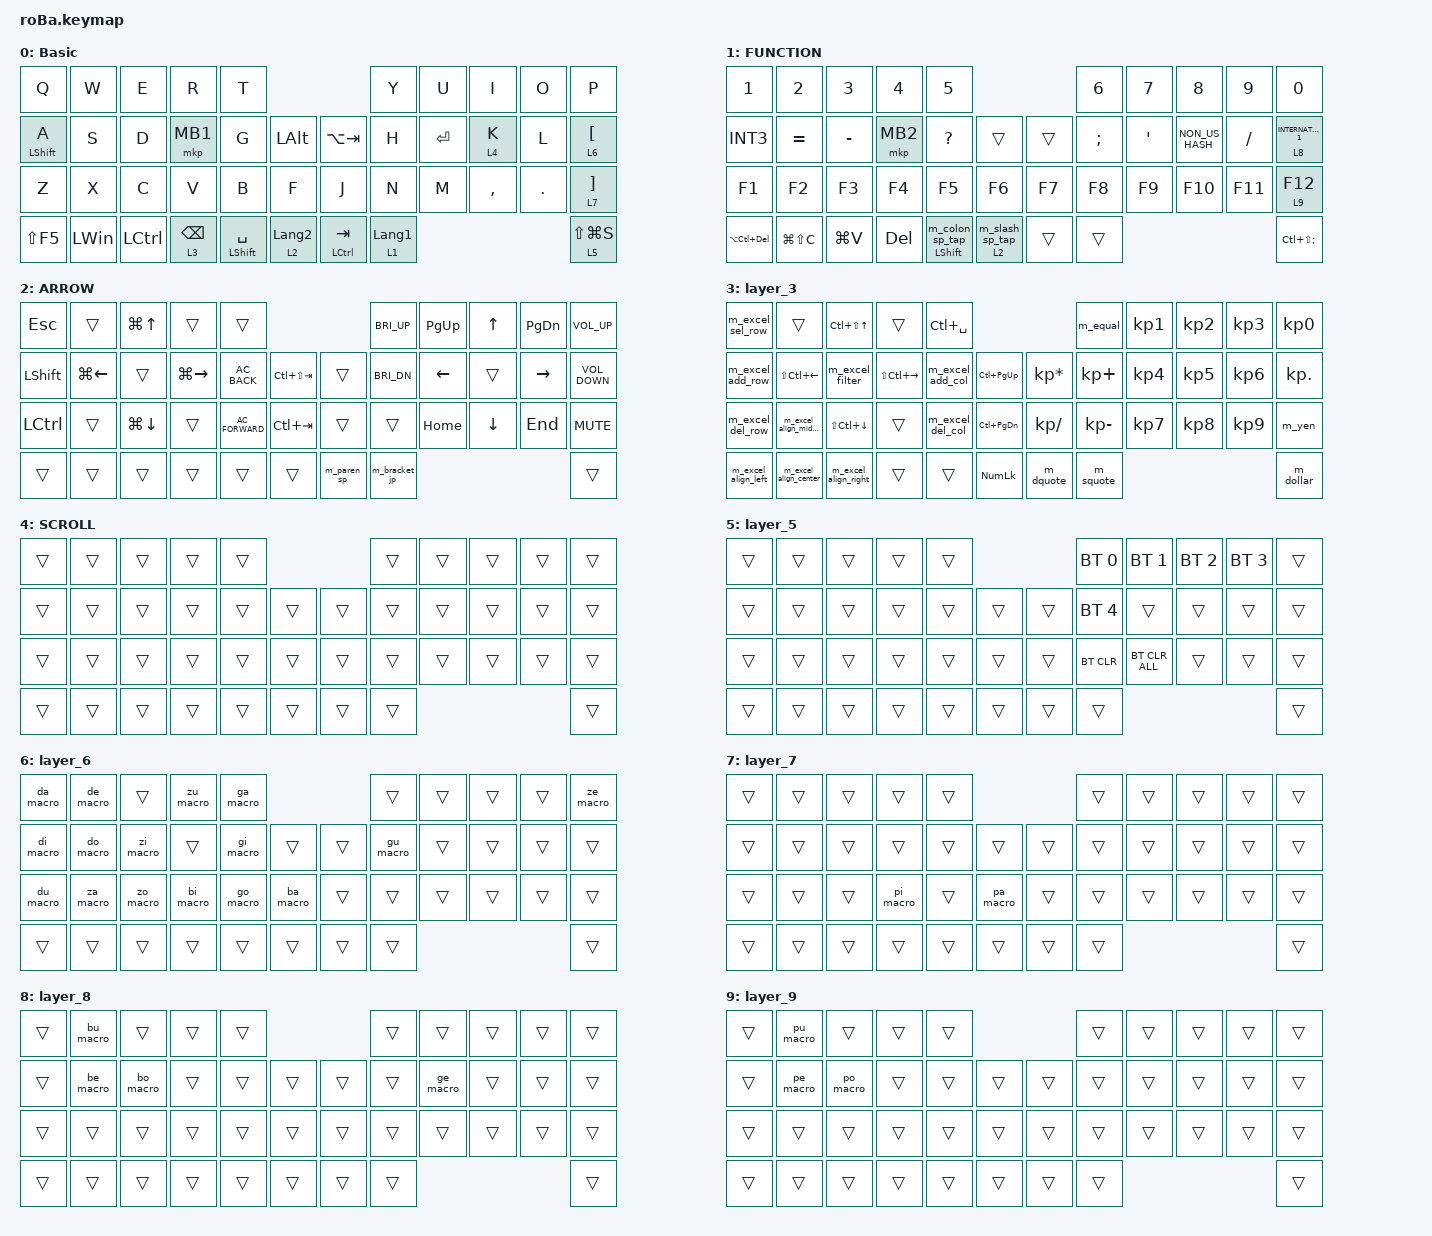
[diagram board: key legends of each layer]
#include <behaviors.dtsi>
#include <dt-bindings/zmk/bt.h>
#include <dt-bindings/zmk/keys.h>
#include <dt-bindings/zmk/pointing.h>

// ==========================================================
// グローバル設定
// ==========================================================

&trackball { scroll-layers = <4>; };

&mt {
    flavor = "balanced";
    tapping-term-ms = <200>;
    quick-tap-ms = <175>;
    require-prior-idle-ms = <35>;
};

&lt {
    flavor = "balanced";
    tapping-term-ms = <200>;
    quick-tap-ms = <175>;
};

&kscan0 { debounce-period = <10>; };

/ {
    combos {
        compatible = "zmk,combos";

        // --- システム・編集系 (既存) ---

        tab {
            timeout-ms = <80>;
            bindings = <&kp TAB>;
            key-positions = <11 12>;
        };

        muhennkann {
            timeout-ms = <80>;
            bindings = <&to_layer_0 INT_MUHENKAN>;
            key-positions = <11 10>;
        };

        select_all {
            timeout-ms = <80>;
            bindings = <&kp LC(A)>;
            key-positions = <10 22>;
        };

        copy {
            timeout-ms = <80>;
            bindings = <&kp LC(C)>;
            key-positions = <22 24>;
        };

        paste {
            timeout-ms = <80>;
            bindings = <&kp LC(V)>;
            key-positions = <22 25>;
        };

        cut {
            timeout-ms = <80>;
            bindings = <&kp LC(X)>;
            key-positions = <22 23>;
        };

        // --- 濁音・半濁音コンボ (既存) ---

        c_da {
            timeout-ms = <80>;
            layers = <0>;
            key-positions = <0 21>;
            bindings = <&da_macro>;
        };

        c_de {
            timeout-ms = <80>;
            layers = <0>;
            key-positions = <1 21>;
            bindings = <&de_macro>;
        };

        c_zu {
            timeout-ms = <80>;
            layers = <0>;
            key-positions = <3 21>;
            bindings = <&zu_macro>;
        };

        c_ga {
            timeout-ms = <80>;
            layers = <0>;
            key-positions = <4 21>;
            bindings = <&ga_macro>;
        };

        c_di {
            timeout-ms = <80>;
            layers = <0>;
            key-positions = <10 21>;
            bindings = <&di_macro>;
        };

        c_do {
            timeout-ms = <80>;
            layers = <0>;
            key-positions = <11 21>;
            bindings = <&do_macro>;
        };

        c_zi {
            timeout-ms = <80>;
            layers = <0>;
            key-positions = <12 21>;
            bindings = <&zi_macro>;
        };

        c_gi {
            timeout-ms = <80>;
            layers = <0>;
            key-positions = <14 21>;
            bindings = <&gi_macro>;
        };

        c_gu {
            timeout-ms = <80>;
            layers = <0>;
            key-positions = <17 21>;
            bindings = <&gu_macro>;
        };

        c_du {
            timeout-ms = <80>;
            layers = <0>;
            key-positions = <22 21>;
            bindings = <&du_macro>;
        };

        c_za {
            timeout-ms = <80>;
            layers = <0>;
            key-positions = <23 21>;
            bindings = <&za_macro>;
        };

        c_zo {
            timeout-ms = <80>;
            layers = <0>;
            key-positions = <24 21>;
            bindings = <&zo_macro>;
        };

        c_bi {
            timeout-ms = <80>;
            layers = <0>;
            key-positions = <25 21>;
            bindings = <&bi_macro>;
        };

        c_go {
            timeout-ms = <80>;
            layers = <0>;
            key-positions = <26 21>;
            bindings = <&go_macro>;
        };

        c_ba {
            timeout-ms = <80>;
            layers = <0>;
            key-positions = <27 21>;
            bindings = <&ba_macro>;
        };

        c_pa {
            timeout-ms = <80>;
            layers = <0>;
            key-positions = <27 33>;
            bindings = <&pa_macro>;
        };

        c_pi {
            timeout-ms = <80>;
            layers = <0>;
            key-positions = <25 33>;
            bindings = <&pi_macro>;
        };

        c_bu {
            timeout-ms = <80>;
            layers = <0>;
            key-positions = <1 41 21>;
            bindings = <&bu_macro>;
        };

        c_bo {
            timeout-ms = <80>;
            layers = <0>;
            key-positions = <12 41 21>;
            bindings = <&bo_macro>;
        };

        c_be {
            timeout-ms = <80>;
            layers = <0>;
            key-positions = <11 41 21>;
            bindings = <&be_macro>;
        };

        c_ze {
            timeout-ms = <80>;
            layers = <0>;
            key-positions = <9 41 21>;
            bindings = <&ze_macro>;
        };

        c_ge {
            timeout-ms = <80>;
            layers = <0>;
            key-positions = <18 41 21>;
            bindings = <&ge_macro>;
        };

        c_pu {
            timeout-ms = <80>;
            layers = <0>;
            key-positions = <1 41 33>;
            bindings = <&pu_macro>;
        };

        c_po {
            timeout-ms = <80>;
            layers = <0>;
            key-positions = <12 41 33>;
            bindings = <&po_macro>;
        };

        c_pe {
            timeout-ms = <80>;
            layers = <0>;
            key-positions = <11 41 33>;
            bindings = <&pe_macro>;
        };

        // --- 特殊かな L1コンボ (既存) ---

        c_nu {
            timeout-ms = <80>;
            layers = <0>;
            key-positions = <0 41>;
            bindings = <&kp N1>;
        };

        c_fu {
            timeout-ms = <80>;
            layers = <0>;
            key-positions = <1 41>;
            bindings = <&kp N2>;
        };

        c_a {
            timeout-ms = <80>;
            layers = <0>;
            key-positions = <2 41>;
            bindings = <&kp N3>;
        };

        c_u {
            timeout-ms = <80>;
            layers = <0>;
            key-positions = <3 41>;
            bindings = <&kp N4>;
        };

        c_e {
            timeout-ms = <80>;
            layers = <0>;
            key-positions = <4 41>;
            bindings = <&kp N5>;
        };

        c_o {
            timeout-ms = <80>;
            layers = <0>;
            key-positions = <5 41>;
            bindings = <&kp N6>;
        };

        c_ho {
            timeout-ms = <80>;
            layers = <0>;
            key-positions = <12 41>;
            bindings = <&kp MINUS>;
        };

        c_he {
            timeout-ms = <80>;
            layers = <0>;
            key-positions = <11 41>;
            bindings = <&kp EQUAL>;
        };

        c_ya {
            timeout-ms = <80>;
            layers = <0>;
            key-positions = <6 41>;
            bindings = <&kp N7>;
        };

        c_yu {
            timeout-ms = <80>;
            layers = <0>;
            key-positions = <7 41>;
            bindings = <&kp N8>;
        };

        c_yo {
            timeout-ms = <80>;
            layers = <0>;
            key-positions = <8 41>;
            bindings = <&kp N9>;
        };

        c_wa {
            timeout-ms = <80>;
            layers = <0>;
            key-positions = <9 41>;
            bindings = <&kp N0>;
        };

        c_cho {
            timeout-ms = <80>;
            layers = <0>;
            key-positions = <10 41>;
            bindings = <&kp INT3>;
        };

        c_ro {
            timeout-ms = <80>;
            layers = <0>;
            key-positions = <21 41>;
            bindings = <&kp INTERNATIONAL_1>;
        };

        c_re {
            timeout-ms = <80>;
            layers = <0>;
            key-positions = <17 41>;
            bindings = <&kp SEMICOLON>;
        };

        c_ke {
            timeout-ms = <80>;
            layers = <0>;
            key-positions = <18 41>;
            bindings = <&kp SQT>;
        };

        c_mu {
            timeout-ms = <80>;
            layers = <0>;
            key-positions = <19 41>;
            bindings = <&kp NON_US_HASH>;
        };

        c_me {
            timeout-ms = <80>;
            layers = <0>;
            key-positions = <20 41>;
            bindings = <&kp SLASH>;
        };

        // --- 小書き・句読点 ---
        // 【修正】スペース(38)を含むコンボは、文字→スペース変換の
        //         ロール打鍵で誤発火しやすいため timeout-ms を 80 → 40 に短縮

        c_s_i {
            timeout-ms = <40>;
            layers = <0>;
            key-positions = <2 38>;
            bindings = <&kp LS(E)>;
        };

        c_s_tu {
            timeout-ms = <40>;
            layers = <0>;
            key-positions = <22 38>;
            bindings = <&kp LS(Z)>;
        };

        c_ten {
            timeout-ms = <40>;
            layers = <0>;
            key-positions = <31 38>;
            bindings = <&kp LS(COMMA)>;
        };

        c_maru {
            timeout-ms = <40>;
            layers = <0>;
            key-positions = <32 38>;
            bindings = <&kp LS(DOT)>;
        };

        c_s_a {
            timeout-ms = <40>;
            layers = <0>;
            key-positions = <2 38 41>;
            bindings = <&kp LS(N3)>;
        };

        c_s_u {
            timeout-ms = <40>;
            layers = <0>;
            key-positions = <3 38 41>;
            bindings = <&kp LS(N4)>;
        };

        c_s_e {
            timeout-ms = <40>;
            layers = <0>;
            key-positions = <4 38 41>;
            bindings = <&kp LS(N5)>;
        };

        c_s_o {
            timeout-ms = <40>;
            layers = <0>;
            key-positions = <5 38 41>;
            bindings = <&kp LS(N6)>;
        };

        c_s_ya {
            timeout-ms = <40>;
            layers = <0>;
            key-positions = <6 38 41>;
            bindings = <&kp LS(N7)>;
        };

        c_s_yu {
            timeout-ms = <40>;
            layers = <0>;
            key-positions = <7 38 41>;
            bindings = <&kp LS(N8)>;
        };

        c_s_yo {
            timeout-ms = <40>;
            layers = <0>;
            key-positions = <8 38 41>;
            bindings = <&kp LS(N9)>;
        };

        c_wo {
            timeout-ms = <40>;
            layers = <0>;
            key-positions = <9 38 41>;
            bindings = <&kp LS(N0)>;
        };

        // ==========================================================
        // 拗音・外来語コンボ
        // ==========================================================

        c_kya {
            timeout-ms = <80>;
            layers = <0>;
            key-positions = <14 6>;
            bindings = <&m_kya>;
        };

        c_kyu {
            timeout-ms = <80>;
            layers = <0>;
            key-positions = <14 7>;
            bindings = <&m_kyu>;
        };

        c_kyo {
            timeout-ms = <80>;
            layers = <0>;
            key-positions = <14 8>;
            bindings = <&m_kyo>;
        };

        c_sha {
            timeout-ms = <80>;
            layers = <0>;
            key-positions = <12 6>;
            bindings = <&m_sha>;
        };

        c_shu {
            timeout-ms = <80>;
            layers = <0>;
            key-positions = <12 7>;
            bindings = <&m_shu>;
        };

        c_sho {
            timeout-ms = <80>;
            layers = <0>;
            key-positions = <12 8>;
            bindings = <&m_sho>;
        };

        c_she {
            timeout-ms = <80>;
            layers = <0>;
            key-positions = <12 32>;
            bindings = <&m_she>;
        };

        c_cha {
            timeout-ms = <80>;
            layers = <0>;
            key-positions = <10 6>;
            bindings = <&m_cha>;
        };

        c_chu {
            timeout-ms = <80>;
            layers = <0>;
            key-positions = <10 7>;
            bindings = <&m_chu>;
        };

        c_cho_y {
            timeout-ms = <80>;
            layers = <0>;
            key-positions = <10 8>;
            bindings = <&m_cho_y>;
        };

        c_che {
            timeout-ms = <80>;
            layers = <0>;
            key-positions = <10 32>;
            bindings = <&m_che>;
        };

        c_hya {
            timeout-ms = <80>;
            layers = <0>;
            key-positions = <25 6>;
            bindings = <&m_hya>;
        };

        c_hyu {
            timeout-ms = <80>;
            layers = <0>;
            key-positions = <25 7>;
            bindings = <&m_hyu>;
        };

        c_hyo {
            timeout-ms = <80>;
            layers = <0>;
            key-positions = <25 8>;
            bindings = <&m_hyo>;
        };

        c_nya {
            timeout-ms = <80>;
            layers = <0>;
            key-positions = <7 1>;
            bindings = <&m_nya>;
        };

        c_nyu {
            timeout-ms = <80>;
            layers = <0>;
            key-positions = <7 2>;
            bindings = <&m_nyu>;
        };

        c_nyo {
            timeout-ms = <80>;
            layers = <0>;
            key-positions = <7 3>;
            bindings = <&m_nyo>;
        };

        c_mya {
            timeout-ms = <80>;
            layers = <0>;
            key-positions = <29 1>;
            bindings = <&m_mya>;
        };

        c_myu {
            timeout-ms = <80>;
            layers = <0>;
            key-positions = <29 2>;
            bindings = <&m_myu>;
        };

        c_myo {
            timeout-ms = <80>;
            layers = <0>;
            key-positions = <29 3>;
            bindings = <&m_myo>;
        };

        c_rya {
            timeout-ms = <80>;
            layers = <0>;
            key-positions = <20 1>;
            bindings = <&m_rya>;
        };

        c_ryu {
            timeout-ms = <80>;
            layers = <0>;
            key-positions = <20 2>;
            bindings = <&m_ryu>;
        };

        c_ryo {
            timeout-ms = <80>;
            layers = <0>;
            key-positions = <20 3>;
            bindings = <&m_ryo>;
        };

        c_fa {
            timeout-ms = <80>;
            layers = <0>;
            key-positions = <1 41 29>;
            bindings = <&m_fa>;
        };

        c_fi {
            timeout-ms = <80>;
            layers = <0>;
            key-positions = <1 41 30>;
            bindings = <&m_fi>;
        };

        c_fyu {
            timeout-ms = <80>;
            layers = <0>;
            key-positions = <1 41 7>;
            bindings = <&m_fyu>;
        };

        c_fe {
            timeout-ms = <80>;
            layers = <0>;
            key-positions = <1 41 32>;
            bindings = <&m_fe>;
        };

        c_fo {
            timeout-ms = <80>;
            layers = <0>;
            key-positions = <1 41 33>;
            bindings = <&m_fo>;
        };

        c_gya {
            timeout-ms = <80>;
            layers = <0>;
            key-positions = <14 6 21>;
            bindings = <&m_gya>;
        };

        c_gyu {
            timeout-ms = <80>;
            layers = <0>;
            key-positions = <14 7 21>;
            bindings = <&m_gyu>;
        };

        c_gyo {
            timeout-ms = <80>;
            layers = <0>;
            key-positions = <14 8 21>;
            bindings = <&m_gyo>;
        };

        c_ja {
            timeout-ms = <80>;
            layers = <0>;
            key-positions = <12 6 21>;
            bindings = <&m_ja>;
        };

        c_ju {
            timeout-ms = <80>;
            layers = <0>;
            key-positions = <12 7 21>;
            bindings = <&m_ju>;
        };

        c_jo {
            timeout-ms = <80>;
            layers = <0>;
            key-positions = <12 8 21>;
            bindings = <&m_jo>;
        };

        c_je {
            timeout-ms = <80>;
            layers = <0>;
            key-positions = <12 32 21>;
            bindings = <&m_je>;
        };

        c_bya {
            timeout-ms = <80>;
            layers = <0>;
            key-positions = <25 6 21>;
            bindings = <&m_bya>;
        };

        c_byu {
            timeout-ms = <80>;
            layers = <0>;
            key-positions = <25 7 21>;
            bindings = <&m_byu>;
        };

        c_byo {
            timeout-ms = <80>;
            layers = <0>;
            key-positions = <25 8 21>;
            bindings = <&m_byo>;
        };

        c_va {
            timeout-ms = <80>;
            layers = <0>;
            key-positions = <1 41 21 29>;
            bindings = <&m_va>;
        };

        c_vi {
            timeout-ms = <80>;
            layers = <0>;
            key-positions = <1 41 21 30>;
            bindings = <&m_vi>;
        };

        c_ve {
            timeout-ms = <80>;
            layers = <0>;
            key-positions = <1 41 21 32>;
            bindings = <&m_ve>;
        };

        c_vo {
            timeout-ms = <80>;
            layers = <0>;
            key-positions = <1 41 21 33>;
            bindings = <&m_vo>;
        };

        c_pya {
            timeout-ms = <80>;
            layers = <0>;
            key-positions = <25 6 33>;
            bindings = <&m_pya>;
        };

        c_pyu {
            timeout-ms = <80>;
            layers = <0>;
            key-positions = <25 7 33>;
            bindings = <&m_pyu>;
        };

        c_pyo {
            timeout-ms = <80>;
            layers = <0>;
            key-positions = <25 8 33>;
            bindings = <&m_pyo>;
        };

        // --- 追加: 拗音・外来語コンボ ---

        c_ti {
            timeout-ms = <80>;
            layers = <0>;
            key-positions = <1 30>;
            bindings = <&m_ti>;
        };

        c_di_ext {
            timeout-ms = <80>;
            layers = <0>;
            key-positions = <1 21 30>;
            bindings = <&m_di>;
        };

        c_tu {
            timeout-ms = <80>;
            layers = <0>;
            key-positions = <11 31>;
            bindings = <&m_tu>;
        };

        c_du_ext {
            timeout-ms = <80>;
            layers = <0>;
            key-positions = <11 21 31>;
            bindings = <&m_du>;
        };

        c_wi {
            timeout-ms = <80>;
            layers = <0>;
            key-positions = <3 41 30>;
            bindings = <&m_wi>;
        };

        c_we {
            timeout-ms = <80>;
            layers = <0>;
            key-positions = <3 41 32>;
            bindings = <&m_we>;
        };

        c_wo_ext {
            timeout-ms = <80>;
            layers = <0>;
            key-positions = <3 41 33>;
            bindings = <&m_wo>;
        };

        c_tsa {
            timeout-ms = <80>;
            layers = <0>;
            key-positions = <22 29>;
            bindings = <&m_tsa>;
        };

        c_tsi {
            timeout-ms = <80>;
            layers = <0>;
            key-positions = <22 30>;
            bindings = <&m_tsi>;
        };

        c_tse {
            timeout-ms = <80>;
            layers = <0>;
            key-positions = <22 32>;
            bindings = <&m_tse>;
        };

        c_tso {
            timeout-ms = <80>;
            layers = <0>;
            key-positions = <22 33>;
            bindings = <&m_tso>;
        };
    };

    macros {
        // --- 既存のマクロ ---

        to_layer_0: to_layer_0 {
            compatible = "zmk,behavior-macro-one-param";
            #binding-cells = <1>;
            bindings = <&to 0 &macro_param_1to1 &kp MACRO_PLACEHOLDER>;
            label = "TO_LAYER_0";
        };

        ga_macro: ga_macro {
            compatible = "zmk,behavior-macro";
            #binding-cells = <0>;
            bindings = <&kp T &kp LEFT_BRACKET>;
            label = "GA_MACRO";
        };

        da_macro: da_macro {
            compatible = "zmk,behavior-macro";
            #binding-cells = <0>;
            bindings = <&kp Q &kp LEFT_BRACKET>;
            label = "DA_MACRO";
        };

        za_macro: za_macro {
            compatible = "zmk,behavior-macro";
            #binding-cells = <0>;
            bindings = <&kp X &kp LEFT_BRACKET>;
            label = "ZA_MACRO";
        };

        ba_macro: ba_macro {
            compatible = "zmk,behavior-macro";
            #binding-cells = <0>;
            bindings = <&kp F &kp LEFT_BRACKET>;
            label = "BA_MACRO";
        };

        gi_macro: gi_macro {
            compatible = "zmk,behavior-macro";
            #binding-cells = <0>;
            bindings = <&kp G &kp LEFT_BRACKET>;
            label = "GI_MACRO";
        };

        zi_macro: zi_macro {
            compatible = "zmk,behavior-macro";
            #binding-cells = <0>;
            bindings = <&kp D &kp LEFT_BRACKET>;
            label = "ZI_MACRO";
        };

        bi_macro: bi_macro {
            compatible = "zmk,behavior-macro";
            #binding-cells = <0>;
            bindings = <&kp V &kp LEFT_BRACKET>;
            label = "BI_MACRO";
        };

        di_macro: di_macro {
            compatible = "zmk,behavior-macro";
            #binding-cells = <0>;
            bindings = <&kp A &kp LEFT_BRACKET>;
            label = "DI_MACRO";
        };

        gu_macro: gu_macro {
            compatible = "zmk,behavior-macro";
            #binding-cells = <0>;
            bindings = <&kp H &kp LEFT_BRACKET>;
            label = "GU_MACRO";
        };

        zu_macro: zu_macro {
            compatible = "zmk,behavior-macro";
            #binding-cells = <0>;
            bindings = <&kp R &kp LEFT_BRACKET>;
            label = "ZU_MACRO";
        };

        de_macro: de_macro {
            compatible = "zmk,behavior-macro";
            #binding-cells = <0>;
            bindings = <&kp W &kp LEFT_BRACKET>;
            label = "DE_MACRO";
        };

        du_macro: du_macro {
            compatible = "zmk,behavior-macro";
            #binding-cells = <0>;
            bindings = <&kp Z &kp LEFT_BRACKET>;
            label = "DU_MACRO";
        };

        ge_macro: ge_macro {
            compatible = "zmk,behavior-macro";
            #binding-cells = <0>;
            bindings = <&kp SQT &kp LEFT_BRACKET>;
            label = "GE_MACRO";
        };

        ze_macro: ze_macro {
            compatible = "zmk,behavior-macro";
            #binding-cells = <0>;
            bindings = <&kp P &kp LEFT_BRACKET>;
            label = "ZE_MACRO";
        };

        be_macro: be_macro {
            compatible = "zmk,behavior-macro";
            #binding-cells = <0>;
            bindings = <&kp EQUAL &kp LEFT_BRACKET>;
            label = "BE_MACRO";
        };

        bo_macro: bo_macro {
            compatible = "zmk,behavior-macro";
            #binding-cells = <0>;
            bindings = <&kp MINUS &kp LEFT_BRACKET>;
            label = "BO_MACRO";
        };

        bu_macro: bu_macro {
            compatible = "zmk,behavior-macro";
            #binding-cells = <0>;
            bindings = <&kp NUMBER_2 &kp LEFT_BRACKET>;
            label = "BU_MACRO";
        };

        go_macro: go_macro {
            compatible = "zmk,behavior-macro";
            #binding-cells = <0>;
            bindings = <&kp B &kp LEFT_BRACKET>;
            label = "GO_MACRO";
        };

        do_macro: do_macro {
            compatible = "zmk,behavior-macro";
            #binding-cells = <0>;
            bindings = <&kp S &kp LEFT_BRACKET>;
            label = "DO_MACRO";
        };

        zo_macro: zo_macro {
            compatible = "zmk,behavior-macro";
            #binding-cells = <0>;
            bindings = <&kp C &kp LEFT_BRACKET>;
            label = "ZO_MACRO";
        };

        pa_macro: pa_macro {
            compatible = "zmk,behavior-macro";
            #binding-cells = <0>;
            bindings = <&kp F &kp RIGHT_BRACKET>;
            label = "PA_MACRO";
        };

        pi_macro: pi_macro {
            compatible = "zmk,behavior-macro";
            #binding-cells = <0>;
            bindings = <&kp V &kp RIGHT_BRACKET>;
            label = "PI_MACRO";
        };

        pu_macro: pu_macro {
            compatible = "zmk,behavior-macro";
            #binding-cells = <0>;
            bindings = <&kp NUMBER_2 &kp RIGHT_BRACKET>;
            label = "PU_MACRO";
        };

        pe_macro: pe_macro {
            compatible = "zmk,behavior-macro";
            #binding-cells = <0>;
            bindings = <&kp EQUAL &kp RIGHT_BRACKET>;
            label = "PE_MACRO";
        };

        po_macro: po_macro {
            compatible = "zmk,behavior-macro";
            #binding-cells = <0>;
            bindings = <&kp MINUS &kp RIGHT_BRACKET>;
            label = "PO_MACRO";
        };

        m_paren_sp: m_paren_sp {
            compatible = "zmk,behavior-macro";
            #binding-cells = <0>;
            wait-ms = <20>;
            tap-ms = <20>;
            bindings = <&kp LANGUAGE_2 &kp SPACE &kp LS(N8) &kp LS(N9) &kp SPACE &kp LEFT &kp LEFT &kp LANGUAGE_1>;
            label = "M_PAREN_SP";
        };

        m_bracket_jp: m_bracket_jp {
            compatible = "zmk,behavior-macro";
            #binding-cells = <0>;
            wait-ms = <20>;
            tap-ms = <20>;
            bindings = <&kp LANGUAGE_2 &kp RBKT &kp NON_US_HASH &kp LEFT &kp LANGUAGE_1>;
            label = "M_BRACKET_JP";
        };

        m_dquote: m_dquote {
            compatible = "zmk,behavior-macro";
            #binding-cells = <0>;
            wait-ms = <20>;
            tap-ms = <20>;
            bindings = <&kp LANGUAGE_2 &kp LS(N2) &kp LS(N2) &kp LEFT &kp LANGUAGE_1>;
            label = "M_DQUOTE";
        };

        m_squote: m_squote {
            compatible = "zmk,behavior-macro";
            #binding-cells = <0>;
            wait-ms = <20>;
            tap-ms = <20>;
            bindings = <&kp LANGUAGE_2 &kp LS(N7) &kp LS(N7) &kp LEFT &kp LANGUAGE_1>;
            label = "M_SQUOTE";
        };

        m_colon_sp: m_colon_sp {
            compatible = "zmk,behavior-macro";
            #binding-cells = <0>;
            wait-ms = <20>;
            tap-ms = <20>;
            bindings = <&kp LANGUAGE_2 &kp SPACE &kp SQT &kp SPACE &kp LANGUAGE_1>;
            label = "M_COLON_SP";
        };

        m_slash_sp: m_slash_sp {
            compatible = "zmk,behavior-macro";
            #binding-cells = <0>;
            wait-ms = <20>;
            tap-ms = <20>;
            bindings = <&kp LANGUAGE_2 &kp SPACE &kp SLASH &kp SPACE &kp LANGUAGE_1>;
            label = "M_SLASH_SP";
        };

        m_kya: m_kya {
            compatible = "zmk,behavior-macro";
            #binding-cells = <0>;
            bindings = <&kp G &kp LS(N7)>;
            label = "KYA";
        };

        m_kyu: m_kyu {
            compatible = "zmk,behavior-macro";
            #binding-cells = <0>;
            bindings = <&kp G &kp LS(N8)>;
            label = "KYU";
        };

        m_kyo: m_kyo {
            compatible = "zmk,behavior-macro";
            #binding-cells = <0>;
            bindings = <&kp G &kp LS(N9)>;
            label = "KYO";
        };

        m_sha: m_sha {
            compatible = "zmk,behavior-macro";
            #binding-cells = <0>;
            bindings = <&kp D &kp LS(N7)>;
            label = "SHA";
        };

        m_shu: m_shu {
            compatible = "zmk,behavior-macro";
            #binding-cells = <0>;
            bindings = <&kp D &kp LS(N8)>;
            label = "SHU";
        };

        m_sho: m_sho {
            compatible = "zmk,behavior-macro";
            #binding-cells = <0>;
            bindings = <&kp D &kp LS(N9)>;
            label = "SHO";
        };

        m_she: m_she {
            compatible = "zmk,behavior-macro";
            #binding-cells = <0>;
            bindings = <&kp D &kp LS(N5)>;
            label = "SHE";
        };

        m_cha: m_cha {
            compatible = "zmk,behavior-macro";
            #binding-cells = <0>;
            bindings = <&kp A &kp LS(N7)>;
            label = "CHA";
        };

        m_chu: m_chu {
            compatible = "zmk,behavior-macro";
            #binding-cells = <0>;
            bindings = <&kp A &kp LS(N8)>;
            label = "CHU";
        };

        m_cho_y: m_cho_y {
            compatible = "zmk,behavior-macro";
            #binding-cells = <0>;
            bindings = <&kp A &kp LS(N9)>;
            label = "CHO_Y";
        };

        m_che: m_che {
            compatible = "zmk,behavior-macro";
            #binding-cells = <0>;
            bindings = <&kp A &kp LS(N5)>;
            label = "CHE";
        };

        m_nya: m_nya {
            compatible = "zmk,behavior-macro";
            #binding-cells = <0>;
            bindings = <&kp I &kp LS(N7)>;
            label = "NYA";
        };

        m_nyu: m_nyu {
            compatible = "zmk,behavior-macro";
            #binding-cells = <0>;
            bindings = <&kp I &kp LS(N8)>;
            label = "NYU";
        };

        m_nyo: m_nyo {
            compatible = "zmk,behavior-macro";
            #binding-cells = <0>;
            bindings = <&kp I &kp LS(N9)>;
            label = "NYO";
        };

        m_hya: m_hya {
            compatible = "zmk,behavior-macro";
            #binding-cells = <0>;
            bindings = <&kp V &kp LS(N7)>;
            label = "HYA";
        };

        m_hyu: m_hyu {
            compatible = "zmk,behavior-macro";
            #binding-cells = <0>;
            bindings = <&kp V &kp LS(N8)>;
            label = "HYU";
        };

        m_hyo: m_hyo {
            compatible = "zmk,behavior-macro";
            #binding-cells = <0>;
            bindings = <&kp V &kp LS(N9)>;
            label = "HYO";
        };

        m_mya: m_mya {
            compatible = "zmk,behavior-macro";
            #binding-cells = <0>;
            bindings = <&kp N &kp LS(N7)>;
            label = "MYA";
        };

        m_myu: m_myu {
            compatible = "zmk,behavior-macro";
            #binding-cells = <0>;
            bindings = <&kp N &kp LS(N8)>;
            label = "MYU";
        };

        m_myo: m_myo {
            compatible = "zmk,behavior-macro";
            #binding-cells = <0>;
            bindings = <&kp N &kp LS(N9)>;
            label = "MYO";
        };

        m_rya: m_rya {
            compatible = "zmk,behavior-macro";
            #binding-cells = <0>;
            bindings = <&kp L &kp LS(N7)>;
            label = "RYA";
        };

        m_ryu: m_ryu {
            compatible = "zmk,behavior-macro";
            #binding-cells = <0>;
            bindings = <&kp L &kp LS(N8)>;
            label = "RYU";
        };

        m_ryo: m_ryo {
            compatible = "zmk,behavior-macro";
            #binding-cells = <0>;
            bindings = <&kp L &kp LS(N9)>;
            label = "RYO";
        };

        m_fa: m_fa {
            compatible = "zmk,behavior-macro";
            #binding-cells = <0>;
            bindings = <&kp N2 &kp LS(N3)>;
            label = "FA";
        };

        m_fi: m_fi {
            compatible = "zmk,behavior-macro";
            #binding-cells = <0>;
            bindings = <&kp N2 &kp LS(E)>;
            label = "FI";
        };

        m_fyu: m_fyu {
            compatible = "zmk,behavior-macro";
            #binding-cells = <0>;
            bindings = <&kp N2 &kp LS(N8)>;
            label = "FYU";
        };

        m_fe: m_fe {
            compatible = "zmk,behavior-macro";
            #binding-cells = <0>;
            bindings = <&kp N2 &kp LS(N5)>;
            label = "FE";
        };

        m_fo: m_fo {
            compatible = "zmk,behavior-macro";
            #binding-cells = <0>;
            bindings = <&kp N2 &kp LS(N6)>;
            label = "FO";
        };

        m_gya: m_gya {
            compatible = "zmk,behavior-macro";
            #binding-cells = <0>;
            bindings = <&kp G &kp LEFT_BRACKET &kp LS(N7)>;
            label = "GYA";
        };

        m_gyu: m_gyu {
            compatible = "zmk,behavior-macro";
            #binding-cells = <0>;
            bindings = <&kp G &kp LEFT_BRACKET &kp LS(N8)>;
            label = "GYU";
        };

        m_gyo: m_gyo {
            compatible = "zmk,behavior-macro";
            #binding-cells = <0>;
            bindings = <&kp G &kp LEFT_BRACKET &kp LS(N9)>;
            label = "GYO";
        };

        m_ja: m_ja {
            compatible = "zmk,behavior-macro";
            #binding-cells = <0>;
            bindings = <&kp D &kp LEFT_BRACKET &kp LS(N7)>;
            label = "JA";
        };

        m_ju: m_ju {
            compatible = "zmk,behavior-macro";
            #binding-cells = <0>;
            bindings = <&kp D &kp LEFT_BRACKET &kp LS(N8)>;
            label = "JU";
        };

        m_jo: m_jo {
            compatible = "zmk,behavior-macro";
            #binding-cells = <0>;
            bindings = <&kp D &kp LEFT_BRACKET &kp LS(N9)>;
            label = "JO";
        };

        m_je: m_je {
            compatible = "zmk,behavior-macro";
            #binding-cells = <0>;
            bindings = <&kp D &kp LEFT_BRACKET &kp LS(N5)>;
            label = "JE";
        };

        m_bya: m_bya {
            compatible = "zmk,behavior-macro";
            #binding-cells = <0>;
            bindings = <&kp V &kp LEFT_BRACKET &kp LS(N7)>;
            label = "BYA";
        };

        m_byu: m_byu {
            compatible = "zmk,behavior-macro";
            #binding-cells = <0>;
            bindings = <&kp V &kp LEFT_BRACKET &kp LS(N8)>;
            label = "BYU";
        };

        m_byo: m_byo {
            compatible = "zmk,behavior-macro";
            #binding-cells = <0>;
            bindings = <&kp V &kp LEFT_BRACKET &kp LS(N9)>;
            label = "BYO";
        };

        m_pya: m_pya {
            compatible = "zmk,behavior-macro";
            #binding-cells = <0>;
            bindings = <&kp V &kp RIGHT_BRACKET &kp LS(N7)>;
            label = "PYA";
        };

        m_pyu: m_pyu {
            compatible = "zmk,behavior-macro";
            #binding-cells = <0>;
            bindings = <&kp V &kp RIGHT_BRACKET &kp LS(N8)>;
            label = "PYU";
        };

        m_pyo: m_pyo {
            compatible = "zmk,behavior-macro";
            #binding-cells = <0>;
            bindings = <&kp V &kp RIGHT_BRACKET &kp LS(N9)>;
            label = "PYO";
        };

        m_va: m_va {
            compatible = "zmk,behavior-macro";
            #binding-cells = <0>;
            bindings = <&kp N2 &kp LEFT_BRACKET &kp LS(N3)>;
            label = "VA";
        };

        m_vi: m_vi {
            compatible = "zmk,behavior-macro";
            #binding-cells = <0>;
            bindings = <&kp N2 &kp LEFT_BRACKET &kp LS(E)>;
            label = "VI";
        };

        m_ve: m_ve {
            compatible = "zmk,behavior-macro";
            #binding-cells = <0>;
            bindings = <&kp N2 &kp LEFT_BRACKET &kp LS(N5)>;
            label = "VE";
        };

        m_vo: m_vo {
            compatible = "zmk,behavior-macro";
            #binding-cells = <0>;
            bindings = <&kp N2 &kp LEFT_BRACKET &kp LS(N6)>;
            label = "VO";
        };

        // --- 追加: 拗音・外来語マクロ ---

        m_ti: m_ti {
            compatible = "zmk,behavior-macro";
            #binding-cells = <0>;
            bindings = <&kp W &kp LS(E)>;
            label = "TI";
        };

        m_di: m_di {
            compatible = "zmk,behavior-macro";
            #binding-cells = <0>;
            bindings = <&kp W &kp LEFT_BRACKET &kp LS(E)>;
            label = "DI";
        };

        m_tu: m_tu {
            compatible = "zmk,behavior-macro";
            #binding-cells = <0>;
            bindings = <&kp S &kp LS(N4)>;
            label = "TU";
        };

        m_du: m_du {
            compatible = "zmk,behavior-macro";
            #binding-cells = <0>;
            bindings = <&kp S &kp LEFT_BRACKET &kp LS(N4)>;
            label = "DU";
        };

        m_wi: m_wi {
            compatible = "zmk,behavior-macro";
            #binding-cells = <0>;
            bindings = <&kp N4 &kp LS(E)>;
            label = "WI";
        };

        m_we: m_we {
            compatible = "zmk,behavior-macro";
            #binding-cells = <0>;
            bindings = <&kp N4 &kp LS(N5)>;
            label = "WE";
        };

        m_wo: m_wo {
            compatible = "zmk,behavior-macro";
            #binding-cells = <0>;
            bindings = <&kp N4 &kp LS(N6)>;
            label = "WO";
        };

        m_tsa: m_tsa {
            compatible = "zmk,behavior-macro";
            #binding-cells = <0>;
            bindings = <&kp Z &kp LS(N3)>;
            label = "TSA";
        };

        m_tsi: m_tsi {
            compatible = "zmk,behavior-macro";
            #binding-cells = <0>;
            bindings = <&kp Z &kp LS(E)>;
            label = "TSI";
        };

        m_tse: m_tse {
            compatible = "zmk,behavior-macro";
            #binding-cells = <0>;
            bindings = <&kp Z &kp LS(N5)>;
            label = "TSE";
        };

        m_tso: m_tso {
            compatible = "zmk,behavior-macro";
            #binding-cells = <0>;
            bindings = <&kp Z &kp LS(N6)>;
            label = "TSO";
        };

        // --- 追加: Hold-Tap用の引数つきマクロ ---

        m_colon_sp_tap: m_colon_sp_tap {
            compatible = "zmk,behavior-macro-one-param";
            #binding-cells = <1>;
            wait-ms = <20>;
            tap-ms = <20>;
            bindings = <&kp LANGUAGE_2 &kp SPACE &kp SQT &kp SPACE &kp LANGUAGE_1>;
            label = "M_COLON_SP_TAP";
        };

        m_slash_sp_tap: m_slash_sp_tap {
            compatible = "zmk,behavior-macro-one-param";
            #binding-cells = <1>;
            wait-ms = <20>;
            tap-ms = <20>;
            bindings = <&kp LANGUAGE_2 &kp SPACE &kp SLASH &kp SPACE &kp LANGUAGE_1>;
            label = "M_SLASH_SP_TAP";
        };

        // --- 追加: Excel用 行・列操作マクロ ---

        m_excel_sel_row: m_excel_sel_row {
            compatible = "zmk,behavior-macro";
            #binding-cells = <0>;
            wait-ms = <40>;
            tap-ms = <40>;
            bindings = <&kp LANGUAGE_2 &kp LS(SPACE) &kp LANGUAGE_1>;
            label = "M_EXCEL_SEL_ROW";
        };

        m_excel_add_row: m_excel_add_row {
            compatible = "zmk,behavior-macro";
            #binding-cells = <0>;
            wait-ms = <40>;
            tap-ms = <40>;
            bindings = <&kp LANGUAGE_2 &kp LS(SPACE) &kp LS(LC(SEMI)) &kp LANGUAGE_1>;
            label = "M_EXCEL_ADD_ROW";
        };

        m_excel_del_row: m_excel_del_row {
            compatible = "zmk,behavior-macro";
            #binding-cells = <0>;
            wait-ms = <40>;
            tap-ms = <40>;
            bindings = <&kp LANGUAGE_2 &kp LS(SPACE) &kp LC(MINUS) &kp LANGUAGE_1>;
            label = "M_EXCEL_DEL_ROW";
        };

        m_excel_add_col: m_excel_add_col {
            compatible = "zmk,behavior-macro";
            #binding-cells = <0>;
            wait-ms = <40>;
            tap-ms = <40>;
            bindings = <&kp LC(SPACE) &kp LS(LC(SEMI))>;
            label = "M_EXCEL_ADD_COL";
        };

        m_excel_del_col: m_excel_del_col {
            compatible = "zmk,behavior-macro";
            #binding-cells = <0>;
            wait-ms = <40>;
            tap-ms = <40>;
            bindings = <&kp LC(SPACE) &kp LC(MINUS)>;
            label = "M_EXCEL_DEL_COL";
        };

        // --- 追加: Excel用 オートフィルター マクロ ---

        m_excel_filter: m_excel_filter {
            compatible = "zmk,behavior-macro";
            #binding-cells = <0>;
            wait-ms = <40>;
            tap-ms = <40>;
            bindings = <&kp LEFT_ALT &kp A &kp T>;
            label = "M_EXCEL_FILTER";
        };

        // --- 追加: Excel用 セル配置マクロ ---

        m_excel_align_left: m_excel_align_left {
            compatible = "zmk,behavior-macro";
            #binding-cells = <0>;
            wait-ms = <40>;
            tap-ms = <40>;
            bindings = <&kp LEFT_ALT &kp H &kp A &kp L>;
            label = "M_EXCEL_ALIGN_LEFT";
        };

        m_excel_align_center: m_excel_align_center {
            compatible = "zmk,behavior-macro";
            #binding-cells = <0>;
            wait-ms = <40>;
            tap-ms = <40>;
            bindings = <&kp LEFT_ALT &kp H &kp A &kp C>;
            label = "M_EXCEL_ALIGN_CENTER";
        };

        m_excel_align_right: m_excel_align_right {
            compatible = "zmk,behavior-macro";
            #binding-cells = <0>;
            wait-ms = <40>;
            tap-ms = <40>;
            bindings = <&kp LEFT_ALT &kp H &kp A &kp R>;
            label = "M_EXCEL_ALIGN_RIGHT";
        };

        m_excel_align_middle: m_excel_align_middle {
            compatible = "zmk,behavior-macro";
            #binding-cells = <0>;
            wait-ms = <40>;
            tap-ms = <40>;
            bindings = <&kp LEFT_ALT &kp H &kp A &kp M>;
            label = "M_EXCEL_ALIGN_MIDDLE";
        };

        // --- 修正: かな・英数問わず確実に半角の「=」を入力するマクロ ---

        m_equal: m_equal {
            compatible = "zmk,behavior-macro";
            #binding-cells = <0>;
            wait-ms = <20>;
            tap-ms = <20>;
            bindings = <&kp LANGUAGE_2 &kp LS(MINUS) &kp LANGUAGE_1>;
            label = "M_EQUAL";
        };

        // --- 修正: かな・英数問わず確実に半角の「¥」を入力するマクロ (Alt+0165) ---

        m_yen: m_yen {
            compatible = "zmk,behavior-macro";
            #binding-cells = <0>;
            wait-ms = <20>;
            tap-ms = <20>;
            bindings = <&macro_press &kp LEFT_ALT>,
                       <&macro_tap &kp KP_N0 &kp KP_N1 &kp KP_N6 &kp KP_N5>,
                       <&macro_release &kp LEFT_ALT>;
            label = "M_YEN";
        };

        // --- 追加: かな・英数問わず確実に半角の「$」を入力するマクロ (Alt+0036) ---

        m_dollar: m_dollar {
            compatible = "zmk,behavior-macro";
            #binding-cells = <0>;
            wait-ms = <20>;
            tap-ms = <20>;
            bindings = <&macro_press &kp LEFT_ALT>,
                       <&macro_tap &kp KP_N0 &kp KP_N0 &kp KP_N3 &kp KP_N6>,
                       <&macro_release &kp LEFT_ALT>;
            label = "M_DOLLAR";
        };
    };

    behaviors {
        lt_bs: lt_bs {
            compatible = "zmk,behavior-hold-tap";
            label = "LT_BACKSPACE";
            bindings = <&mo>, <&kp>;

            #binding-cells = <2>;
            tapping-term-ms = <200>;
            quick-tap-ms = <175>;
            retro-tap;
            flavor = "balanced";
        };

        lt_scroll: lt_scroll {
            compatible = "zmk,behavior-hold-tap";
            label = "LT_SCROLL";
            bindings = <&mo>, <&kp>;

            #binding-cells = <2>;
            tapping-term-ms = <100>;
            quick-tap-ms = <120>;
            flavor = "hold-preferred";
        };

        lt_retro: lt_retro {
            compatible = "zmk,behavior-hold-tap";
            label = "LT_RETRO";
            bindings = <&mo>, <&kp>;

            #binding-cells = <2>;
            tapping-term-ms = <100>;
            quick-tap-ms = <120>;
            retro-tap;
            flavor = "balanced";
        };

        mt_colon: mt_colon {
            compatible = "zmk,behavior-hold-tap";
            label = "MT_COLON";
            bindings = <&kp>, <&m_colon_sp_tap>;

            #binding-cells = <2>;
            tapping-term-ms = <200>;
            quick-tap-ms = <175>;
            flavor = "balanced";
        };

        lt_slash: lt_slash {
            compatible = "zmk,behavior-hold-tap";
            label = "LT_SLASH";
            bindings = <&mo>, <&m_slash_sp_tap>;

            #binding-cells = <2>;
            tapping-term-ms = <200>;
            quick-tap-ms = <175>;
            flavor = "balanced";
        };
    };

    keymap {
        compatible = "zmk,keymap";

        Basic {
            bindings = <
&kp Q             &kp W         &kp E      &kp R               &kp T                                                                   &kp Y                   &kp U      &kp I           &kp O    &kp P
&mt LEFT_SHIFT A  &kp S         &kp D      &mkp MB1            &kp G                 &kp LEFT_ALT                &kp LA(TAB)           &kp H                   &kp ENTER  &lt_scroll 4 K  &kp L    &lt_retro 6 LEFT_BRACKET
&kp Z             &kp X         &kp C      &kp V               &kp B                 &kp F                       &kp J                 &kp N                   &kp M      &kp COMMA       &kp DOT  &lt_retro 7 RIGHT_BRACKET
&kp LS(F5)        &kp LEFT_WIN  &kp LCTRL  &lt_bs 3 BACKSPACE  &mt LEFT_SHIFT SPACE  &lt_retro 2 LANGUAGE_2      &mt LEFT_CONTROL TAB  &lt_retro 1 LANGUAGE_1                                      &lt_retro 5 LS(LG(S))
            >;
        };

        FUNCTION {
            bindings = <
&kp NUMBER_1        &kp NUMBER_2   &kp NUMBER_3  &kp NUMBER_4  &kp N5                                             &kp NUMBER_6   &kp N7   &kp N8           &kp N9     &kp N0
&kp INT3            &kp EQUAL      &kp MINUS     &mkp MB2      &kp QUESTION            &trans             &trans  &kp SEMICOLON  &kp SQT  &kp NON_US_HASH  &kp SLASH  &lt_retro 8 INTERNATIONAL_1
&kp F1              &kp F2         &kp F3        &kp F4        &kp F5                  &kp F6             &kp F7  &kp F8         &kp F9   &kp F10          &kp F11    &lt_retro 9 F12
&kp LA(LC(DELETE))  &kp LG(LS(C))  &kp LG(V)     &kp DELETE    &mt_colon LEFT_SHIFT 0  &lt_slash 2 0      &trans  &trans                                              &kp LC(LS(SEMI))
            >;
        };

        ARROW {
            bindings = <
&kp ESCAPE      &trans        &kp LG(UP_ARROW)  &trans         &trans                                              &kp C_BRI_UP   &kp PAGE_UP  &kp UP_ARROW  &kp PAGE_DOWN  &kp C_VOLUME_UP
&kp LEFT_SHIFT  &kp LG(LEFT)  &trans            &kp LG(RIGHT)  &kp C_AC_BACK     &kp LC(LS(TAB))      &trans       &kp C_BRI_DN   &kp LEFT     &trans        &kp RIGHT      &kp C_VOLUME_DOWN
&kp LCTRL       &trans        &kp LG(DOWN)      &trans         &kp C_AC_FORWARD  &kp LC(TAB)          &trans       &trans         &kp HOME     &kp DOWN      &kp END        &kp C_MUTE
&trans          &trans        &trans            &trans         &trans            &trans               &m_paren_sp  &m_bracket_jp                                            &trans
            >;
        };

        layer_3 {
            bindings = <
&m_excel_sel_row     &trans                 &kp LC(LS(UP_ARROW))    &trans             &kp LC(SPACE)                                             &m_equal       &kp KP_N1  &kp KP_N2  &kp KP_N3  &kp KP_N0
&m_excel_add_row     &kp LS(LC(LEFT))       &m_excel_filter         &kp LS(LC(RIGHT))  &m_excel_add_col  &kp LC(PAGE_UP)        &kp KP_ASTERISK  &kp KP_PLUS    &kp KP_N4  &kp KP_N5  &kp KP_N6  &kp KP_DOT
&m_excel_del_row     &m_excel_align_middle  &kp LS(LC(DOWN_ARROW))  &trans             &m_excel_del_col  &kp LC(PAGE_DOWN)      &kp KP_SLASH     &kp KP_MINUS   &kp KP_N7  &kp KP_N8  &kp KP_N9  &m_yen
&m_excel_align_left  &m_excel_align_center  &m_excel_align_right    &trans             &trans            &kp KP_NUMLOCK         &m_dquote        &m_squote                                        &m_dollar
            >;
        };

        SCROLL {
            bindings = <
&trans  &trans  &trans  &trans  &trans                      &trans  &trans  &trans  &trans  &trans
&trans  &trans  &trans  &trans  &trans  &trans      &trans  &trans  &trans  &trans  &trans  &trans
&trans  &trans  &trans  &trans  &trans  &trans      &trans  &trans  &trans  &trans  &trans  &trans
&trans  &trans  &trans  &trans  &trans  &trans      &trans  &trans                          &trans
            >;
        };

        layer_5 {
            bindings = <
&trans  &trans  &trans  &trans  &trans                      &bt BT_SEL 0  &bt BT_SEL 1    &bt BT_SEL 2  &bt BT_SEL 3  &trans
&trans  &trans  &trans  &trans  &trans  &trans      &trans  &bt BT_SEL 4  &trans          &trans        &trans        &trans
&trans  &trans  &trans  &trans  &trans  &trans      &trans  &bt BT_CLR    &bt BT_CLR_ALL  &trans        &trans        &trans
&trans  &trans  &trans  &trans  &trans  &trans      &trans  &trans                                                    &trans
            >;
        };

        layer_6 {
            bindings = <
&da_macro  &de_macro  &trans     &zu_macro  &ga_macro                         &trans     &trans  &trans  &trans  &ze_macro
&di_macro  &do_macro  &zi_macro  &trans     &gi_macro  &trans         &trans  &gu_macro  &trans  &trans  &trans  &trans
&du_macro  &za_macro  &zo_macro  &bi_macro  &go_macro  &ba_macro      &trans  &trans     &trans  &trans  &trans  &trans
&trans     &trans     &trans     &trans     &trans     &trans         &trans  &trans                             &trans
            >;
        };

        layer_7 {
            bindings = <
&trans  &trans  &trans  &trans     &trans                         &trans  &trans  &trans  &trans  &trans
&trans  &trans  &trans  &trans     &trans  &trans         &trans  &trans  &trans  &trans  &trans  &trans
&trans  &trans  &trans  &pi_macro  &trans  &pa_macro      &trans  &trans  &trans  &trans  &trans  &trans
&trans  &trans  &trans  &trans     &trans  &trans         &trans  &trans                          &trans
            >;
        };

        layer_8 {
            bindings = <
&trans  &bu_macro  &trans     &trans  &trans                      &trans  &trans     &trans  &trans  &trans
&trans  &be_macro  &bo_macro  &trans  &trans  &trans      &trans  &trans  &ge_macro  &trans  &trans  &trans
&trans  &trans     &trans     &trans  &trans  &trans      &trans  &trans  &trans     &trans  &trans  &trans
&trans  &trans     &trans     &trans  &trans  &trans      &trans  &trans                             &trans
            >;
        };

        layer_9 {
            bindings = <
&trans  &pu_macro  &trans     &trans  &trans                      &trans  &trans  &trans  &trans  &trans
&trans  &pe_macro  &po_macro  &trans  &trans  &trans      &trans  &trans  &trans  &trans  &trans  &trans
&trans  &trans     &trans     &trans  &trans  &trans      &trans  &trans  &trans  &trans  &trans  &trans
&trans  &trans     &trans     &trans  &trans  &trans      &trans  &trans                          &trans
            >;
        };
    };
};
